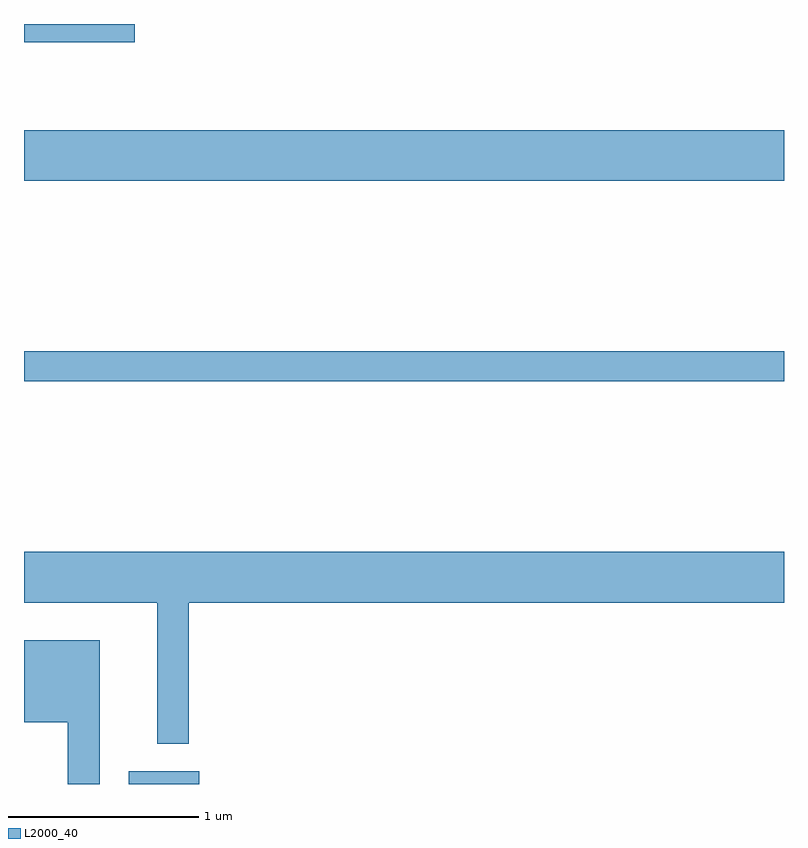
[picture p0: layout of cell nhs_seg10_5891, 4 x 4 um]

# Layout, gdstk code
import gdstk
lib = gdstk.Library(unit=1e-6, precision=1e-09)
def R(c, l, rs):  # rectangles x0, y0, x1, y1
    for r in rs: c.add(gdstk.rectangle(r[:2], r[2:], *l))
def P(c, l, *ps):  # polygons
    for p in ps: c.add(gdstk.Polygon(p, *l))
L2000_40 = (2000, 40)

nhs_seg10_5891 = lib.new_cell('nhs_seg10_5891')
R(nhs_seg10_5891, L2000_40, [(360.161,2108.522,360.534,2108.589), (359.611,2110.641,363.611,2110.799), (359.611,2111.696,363.611,2111.964), (359.611,2112.426,360.194,2112.522)])
P(nhs_seg10_5891, L2000_40, [(360.479,2109.476),(363.611,2109.476),(363.611,2109.744),(359.611,2109.744),(359.611,2109.476),(360.311,2109.476),(360.311,2108.733),(360.479,2108.733)],
  [(360.009,2109.279),(359.611,2109.279),(359.611,2108.846),(359.841,2108.846),(359.841,2108.522),(360.009,2108.522)])

lib.write_gds('nhs_seg10_5891.gds')
